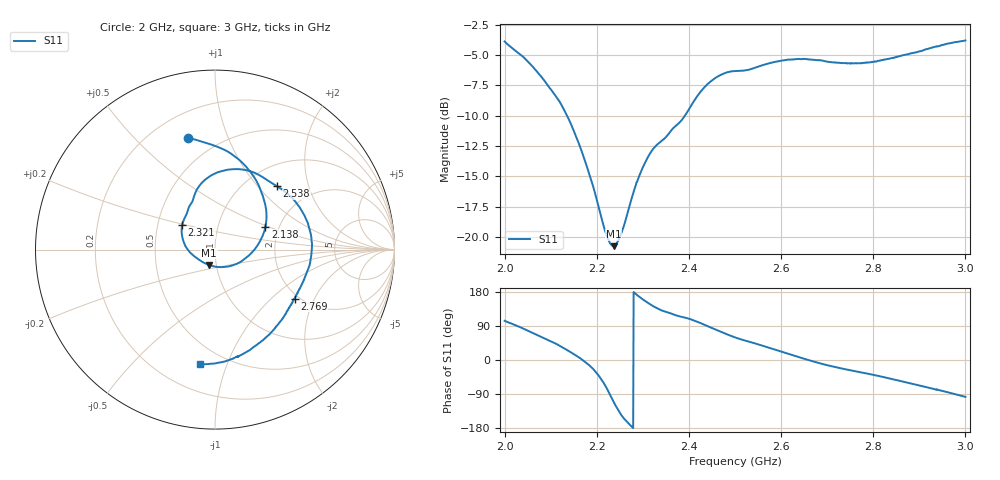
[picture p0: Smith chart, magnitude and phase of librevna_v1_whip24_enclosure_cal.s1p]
! AntennaFox export: 2.4 GHz whip - in enclosure (28d32e91f06042dab1d5f2b6eb39f0d2)
! Instrument: LibreVNA,LibreVNA-GUI,209D39773350,1.6.5
! Calibration (instrument-reported): OSL_1
! Simulated: False
# HZ S RI R 50
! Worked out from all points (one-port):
!   1001 points, 2 GHz to 3 GHz, reference 50 ohm
!   lowest |S11| = -20.8 dB at 2.237 GHz (marker M1), VSWR 1.20, Z = 46.1 - j7.94 ohm
!   |S11| at or under -10 dB: 2.135 GHz to 2.391 GHz (256.2 MHz wide, 11.3 % of centre)
!   S11 on the Smith chart (normalised r, x): 2 GHz: 0.35, +0.73; 2.138 GHz: 1.70, +0.48; 2.321 GHz: 0.67, +0.19; 2.538 GHz: 1.36, +1.28; 2.769 GHz: 1.90, -1.42; 3 GHz: 0.37, -0.81
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2e9  -0.1478 0.6212
2.037e9  0.0505 0.5569
2.067e9  0.181 0.4531
2.093e9  0.2504 0.3407
2.125e9  0.2869 0.1923
2.138e9  0.2808 0.128
2.166e9  0.2287 0.0117
2.195e9  0.1373 -0.0713
2.221e9  0.0296 -0.0976
2.237e9  -0.0333 -0.0853
2.25e9  -0.0759 -0.0651
2.29e9  -0.1709 0.0334
2.321e9  -0.183 0.1371
2.375e9  -0.1305 0.2602
2.41e9  -0.0918 0.349
2.447e9  0.0311 0.4359
2.473e9  0.14 0.4472
2.5e9  0.2437 0.4163
2.538e9  0.3447 0.3539
2.587e9  0.4682 0.2401
2.625e9  0.5257 0.1173
2.678e9  0.5319 -0.0604
2.75e9  0.4615 -0.2353
2.769e9  0.443 -0.2726
2.823e9  0.3771 -0.3817
2.875e9  0.2824 -0.4897
2.95e9  0.0889 -0.6111
3e9  -0.082 -0.6397
